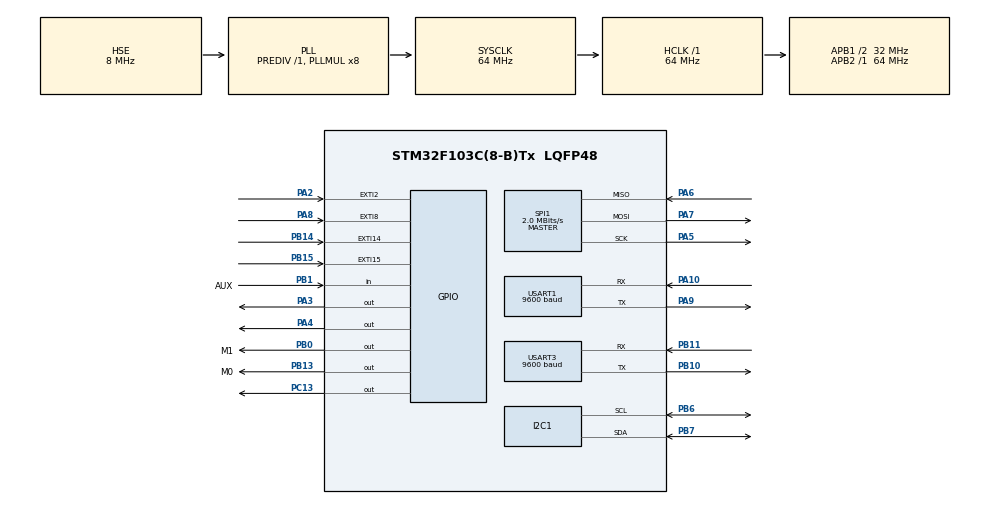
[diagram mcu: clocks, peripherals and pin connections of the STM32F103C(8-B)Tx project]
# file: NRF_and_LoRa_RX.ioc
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I2C1.I2C_Mode=I2C_Fast
Mcu.Family=STM32F1
Mcu.Name=STM32F103C(8-B)Tx
Mcu.Package=LQFP48
NVIC.EXTI15_10_IRQn=true\:0\:0\:false\:false\:true\:true\:true
NVIC.EXTI2_IRQn=true\:0\:0\:false\:false\:true\:true\:true
NVIC.EXTI9_5_IRQn=true\:0\:0\:false\:false\:true\:true\:true
NVIC.PriorityGroup=NVIC_PRIORITYGROUP_4
NVIC.TIM1_UP_IRQn=true\:0\:0\:false\:false\:true\:true\:true
NVIC.TIM2_IRQn=true\:0\:0\:false\:false\:true\:true\:true
NVIC.USART1_IRQn=true\:1\:0\:true\:false\:true\:true\:true
PA10.Mode=Asynchronous
PA10.Signal=USART1_RX
PA13.Mode=Serial_Wire
PA13.Signal=SYS_JTMS-SWDIO
PA14.Mode=Serial_Wire
PA14.Signal=SYS_JTCK-SWCLK
PA2.GPIO_ModeDefaultEXTI=GPIO_MODE_IT_FALLING
PA2.Signal=GPXTI2
PA3.GPIO_Speed=GPIO_SPEED_FREQ_HIGH
PA3.Signal=GPIO_Output
PA4.GPIO_Speed=GPIO_SPEED_FREQ_HIGH
PA4.PinState=GPIO_PIN_SET
PA4.Signal=GPIO_Output
PA5.Mode=Full_Duplex_Master
PA5.Signal=SPI1_SCK
PA6.Mode=Full_Duplex_Master
PA6.Signal=SPI1_MISO
PA7.Mode=Full_Duplex_Master
PA7.Signal=SPI1_MOSI
PA8.GPIO_ModeDefaultEXTI=GPIO_MODE_IT_FALLING
PA8.GPIO_PuPd=GPIO_PULLUP
PA8.Signal=GPXTI8
PA9.Mode=Asynchronous
PA9.Signal=USART1_TX
PB0.GPIO_Label=M1
PB0.Signal=GPIO_Output
PB1.GPIO_Label=AUX
PB1.Signal=GPIO_Input
PB10.Mode=Asynchronous
PB10.Signal=USART3_TX
PB11.Mode=Asynchronous
PB11.Signal=USART3_RX
PB13.GPIO_Label=M0
PB13.Signal=GPIO_Output
PB14.GPIO_ModeDefaultEXTI=GPIO_MODE_IT_FALLING
PB14.GPIO_PuPd=GPIO_PULLUP
PB14.Signal=GPXTI14
PB15.GPIO_ModeDefaultEXTI=GPIO_MODE_IT_FALLING
PB15.GPIO_PuPd=GPIO_PULLUP
PB15.Signal=GPXTI15
PB6.GPIO_Pu=GPIO_PULLUP
PB6.Mode=I2C
PB6.Signal=I2C1_SCL
PB7.GPIO_Pu=GPIO_PULLUP
PB7.Mode=I2C
PB7.Signal=I2C1_SDA
PC13-TAMPER-RTC.Signal=GPIO_Output
PD0-OSC_IN.Mode=HSE-External-Oscillator
PD0-OSC_IN.Signal=RCC_OSC_IN
PD1-OSC_OUT.Mode=HSE-External-Oscillator
PD1-OSC_OUT.Signal=RCC_OSC_OUT
ProjectManager.HeapSize=0x200
ProjectManager.StackSize=0x400
ProjectManager.TargetToolchain=STM32CubeIDE
RCC.AHBFreq_Value=64000000
RCC.APB1CLKDivider=RCC_HCLK_DIV2
RCC.APB1Freq_Value=32000000
RCC.APB1TimFreq_Value=64000000
RCC.APB2Freq_Value=64000000
RCC.APB2TimFreq_Value=64000000
RCC.HCLKFreq_Value=64000000
RCC.PLLMUL=RCC_PLL_MUL8
RCC.PLLSourceVirtual=RCC_PLLSOURCE_HSE
RCC.SYSCLKFreq_VALUE=64000000
RCC.SYSCLKSource=RCC_SYSCLKSOURCE_PLLCLK
RCC.USBFreq_Value=64000000
SPI1.BaudRatePrescaler=SPI_BAUDRATEPRESCALER_32
SPI1.CalculateBaudRate=2.0 MBits/s
SPI1.Direction=SPI_DIRECTION_2LINES
SPI1.Mode=SPI_MODE_MASTER
SPI1.VirtualType=VM_MASTER
TIM1.AutoReloadPreload=TIM_AUTORELOAD_PRELOAD_ENABLE
TIM1.Period=100
TIM1.Prescaler=6400
TIM1.TIM_MasterOutputTrigger=TIM_TRGO_ENABLE
TIM2.AutoReloadPreload=TIM_AUTORELOAD_PRELOAD_ENABLE
TIM2.Period=100
TIM2.Prescaler=6400
TIM2.TIM_MasterOutputTrigger=TIM_TRGO_ENABLE
USART1.BaudRate=9600
USART1.VirtualMode=VM_ASYNC
USART3.BaudRate=9600
USART3.VirtualMode=VM_ASYNC
VP_TIM1_VS_ClockSourceINT.Mode=Internal
VP_TIM2_VS_ClockSourceINT.Mode=Internal
board=custom

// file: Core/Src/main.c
/* USER CODE BEGIN Header */
/**
  ******************************************************************************
  * @file           : main.c
  * @brief          : Main program body
  ******************************************************************************
  * @attention
  *
  * <h2><center>&copy; Copyright (c) 2021 STMicroelectronics.
  * All rights reserved.</center></h2>
  *
  * This software component is licensed by ST under BSD 3-Clause license,
  * the "License"; You may not use this file except in compliance with the
  * License. You may obtain a copy of the License at:
  *                        opensource.org/licenses/BSD-3-Clause
  *
  ******************************************************************************
  */
/* USER CODE END Header */
#include "main.h"

/* USER CODE BEGIN Includes */
#include <OLED/fonts.h>
#include <OLED/oled_ssd1306.h>
#include <OLED/ssd1306.h>
#include <OLED/oled_main.h>

#include <NRF24L01/nrf24l01.h>

#include <LoRa_E220_900T22D/e220_900t22d.h>

#include <keyboard/keyboard.h>
#include <menu/menu.h>

/* USER CODE END Includes */

/* USER CODE BEGIN PD */
extern bool tx_mode;
extern bool rx_mode;
extern bool tx_or_rx_mode;

char uart_rx_data[50] = {0};			// Main rx buffer data
char str[1] = {0};						// Buffer for one char
bool flag_command_received = false;		// Flag show status receive data (completed/not completed)
uint8_t rx_data_counter = 0;
//
//char test_main[20] = {0};

#define off 0
#define on 1

void state_machine(void);
/* USER CODE END PD */

I2C_HandleTypeDef hi2c1;

SPI_HandleTypeDef hspi1;

TIM_HandleTypeDef htim1;
TIM_HandleTypeDef htim2;

UART_HandleTypeDef huart1;
UART_HandleTypeDef huart3;

void SystemClock_Config(void);
static void MX_GPIO_Init(void);
static void MX_I2C1_Init(void);
static void MX_SPI1_Init(void);
static void MX_USART1_UART_Init(void);
static void MX_TIM1_Init(void);
static void MX_USART3_UART_Init(void);
static void MX_TIM2_Init(void);

/* USER CODE BEGIN 0 */
#define STACK_CANARY_WORD (0xCACACACAUL)      // Paint for stack

extern uint32_t _ebss;
extern uint32_t _estack;

//-------------------------------------------------------------------------------
unsigned check_stack_size(void)
{
	unsigned *addr = &_ebss;				// Create pointer on start heap
	uint32_t item1, item2;

	unsigned TEST_estack = &_estack;		// Get adress

	while (addr < (&_estack - 1))
	{
	    item1 = *addr;
	    addr++;
	    item2 = *addr;

	    if (item1 == STACK_CANARY_WORD && item2 != STACK_CANARY_WORD) {
	      break;
	    }
	 }

	 return ((unsigned)&_estack - (unsigned)addr);
}
//-------------------------------------------------------------------------------

//-------------------------------------------------------------------------------

/* USER CODE END 0 */

int main(void)
{
  /* USER CODE BEGIN 1 */
	// --------------------------------------------------------------------
	volatile unsigned *top, *start;
	 __asm__ volatile ("mov %[top], sp" : [top] "=r" (top) : : );
	 start = &_ebss;
	 while (start < top)
	 {
	  	*(start++) = STACK_CANARY_WORD;
	 }
	  // --------------------------------------------------------------------
  /* USER CODE END 1 */

  /* MCU Configuration--------------------------------------------------------*/

  /* Reset of all peripherals, Initializes the Flash interface and the Systick. */
  HAL_Init();

  /* Configure the system clock */
  SystemClock_Config();

  /* Initialize all configured peripherals */
  MX_GPIO_Init();
  MX_I2C1_Init();
  MX_SPI1_Init();
  MX_USART1_UART_Init();
  MX_TIM1_Init();
  MX_USART3_UART_Init();
  MX_TIM2_Init();

  /* Infinite loop */
  /* USER CODE BEGIN WHILE */

  HAL_GPIO_WritePin(GPIOC, GPIO_PIN_13, GPIO_PIN_SET);

  // Init interrupt (For LoRa)
  HAL_NVIC_SetPriority(USART1_IRQn, 0, 0);
  HAL_NVIC_EnableIRQ(USART1_IRQn);

//  HAL_TIM_Base_Start_IT(&htim2);	// For sensor measure

  // OLED init
  ssd1306_Init();
  ssd1306_Fill(Black);
  ssd1306_UpdateScreen();

  while (1)
  {
	 int stack_size_2 = check_stack_size();				// 10220
	 menu();
    /* USER CODE END WHILE */

  }
}

void SystemClock_Config(void)
{
  RCC_OscInitTypeDef RCC_OscInitStruct = {0};
  RCC_ClkInitTypeDef RCC_ClkInitStruct = {0};

  /** Initializes the RCC Oscillators according to the specified parameters
  * in the RCC_OscInitTypeDef structure.
  */
  RCC_OscInitStruct.OscillatorType = RCC_OSCILLATORTYPE_HSE;
  RCC_OscInitStruct.HSEState = RCC_HSE_ON;
  RCC_OscInitStruct.HSEPredivValue = RCC_HSE_PREDIV_DIV1;
  RCC_OscInitStruct.HSIState = RCC_HSI_ON;
  RCC_OscInitStruct.PLL.PLLState = RCC_PLL_ON;
  RCC_OscInitStruct.PLL.PLLSource = RCC_PLLSOURCE_HSE;
  RCC_OscInitStruct.PLL.PLLMUL = RCC_PLL_MUL8;
  if (HAL_RCC_OscConfig(&RCC_OscInitStruct) != HAL_OK)
  {
    Error_Handler();
  }
  /** Initializes the CPU, AHB and APB buses clocks
  */
  RCC_ClkInitStruct.ClockType = RCC_CLOCKTYPE_HCLK|RCC_CLOCKTYPE_SYSCLK
                              |RCC_CLOCKTYPE_PCLK1|RCC_CLOCKTYPE_PCLK2;
  RCC_ClkInitStruct.SYSCLKSource = RCC_SYSCLKSOURCE_PLLCLK;
  RCC_ClkInitStruct.AHBCLKDivider = RCC_SYSCLK_DIV1;
  RCC_ClkInitStruct.APB1CLKDivider = RCC_HCLK_DIV2;
  RCC_ClkInitStruct.APB2CLKDivider = RCC_HCLK_DIV1;

  if (HAL_RCC_ClockConfig(&RCC_ClkInitStruct, FLASH_LATENCY_2) != HAL_OK)
  {
    Error_Handler();
  }
}

static void MX_I2C1_Init(void)
{

  hi2c1.Instance = I2C1;
  hi2c1.Init.ClockSpeed = 400000;
  hi2c1.Init.DutyCycle = I2C_DUTYCYCLE_2;
  hi2c1.Init.OwnAddress1 = 0;
  hi2c1.Init.AddressingMode = I2C_ADDRESSINGMODE_7BIT;
  hi2c1.Init.DualAddressMode = I2C_DUALADDRESS_DISABLE;
  hi2c1.Init.OwnAddress2 = 0;
  hi2c1.Init.GeneralCallMode = I2C_GENERALCALL_DISABLE;
  hi2c1.Init.NoStretchMode = I2C_NOSTRETCH_DISABLE;
  if (HAL_I2C_Init(&hi2c1) != HAL_OK)
  {
    Error_Handler();
  }

}

static void MX_SPI1_Init(void)
{

  /* SPI1 parameter configuration*/
  hspi1.Instance = SPI1;
  hspi1.Init.Mode = SPI_MODE_MASTER;
  hspi1.Init.Direction = SPI_DIRECTION_2LINES;
  hspi1.Init.DataSize = SPI_DATASIZE_8BIT;
  hspi1.Init.CLKPolarity = SPI_POLARITY_LOW;
  hspi1.Init.CLKPhase = SPI_PHASE_1EDGE;
  hspi1.Init.NSS = SPI_NSS_SOFT;
  hspi1.Init.BaudRatePrescaler = SPI_BAUDRATEPRESCALER_32;
  hspi1.Init.FirstBit = SPI_FIRSTBIT_MSB;
  hspi1.Init.TIMode = SPI_TIMODE_DISABLE;
  hspi1.Init.CRCCalculation = SPI_CRCCALCULATION_DISABLE;
  hspi1.Init.CRCPolynomial = 10;
  if (HAL_SPI_Init(&hspi1) != HAL_OK)
  {
    Error_Handler();
  }

}

static void MX_TIM1_Init(void)
{

  TIM_ClockConfigTypeDef sClockSourceConfig = {0};
  TIM_MasterConfigTypeDef sMasterConfig = {0};

  htim1.Instance = TIM1;
  htim1.Init.Prescaler = 6400;
  htim1.Init.CounterMode = TIM_COUNTERMODE_UP;
  htim1.Init.Period = 100;
  htim1.Init.ClockDivision = TIM_CLOCKDIVISION_DIV1;
  htim1.Init.RepetitionCounter = 0;
  htim1.Init.AutoReloadPreload = TIM_AUTORELOAD_PRELOAD_ENABLE;
  if (HAL_TIM_Base_Init(&htim1) != HAL_OK)
  {
    Error_Handler();
  }
  sClockSourceConfig.ClockSource = TIM_CLOCKSOURCE_INTERNAL;
  if (HAL_TIM_ConfigClockSource(&htim1, &sClockSourceConfig) != HAL_OK)
  {
    Error_Handler();
  }
  sMasterConfig.MasterOutputTrigger = TIM_TRGO_ENABLE;
  sMasterConfig.MasterSlaveMode = TIM_MASTERSLAVEMODE_DISABLE;
  if (HAL_TIMEx_MasterConfigSynchronization(&htim1, &sMasterConfig) != HAL_OK)
  {
    Error_Handler();
  }

}

static void MX_TIM2_Init(void)
{

  TIM_ClockConfigTypeDef sClockSourceConfig = {0};
  TIM_MasterConfigTypeDef sMasterConfig = {0};

  htim2.Instance = TIM2;
  htim2.Init.Prescaler = 6400;
  htim2.Init.CounterMode = TIM_COUNTERMODE_UP;
  htim2.Init.Period = 100;
  htim2.Init.ClockDivision = TIM_CLOCKDIVISION_DIV1;
  htim2.Init.AutoReloadPreload = TIM_AUTORELOAD_PRELOAD_ENABLE;
  if (HAL_TIM_Base_Init(&htim2) != HAL_OK)
  {
    Error_Handler();
  }
  sClockSourceConfig.ClockSource = TIM_CLOCKSOURCE_INTERNAL;
  if (HAL_TIM_ConfigClockSource(&htim2, &sClockSourceConfig) != HAL_OK)
  {
    Error_Handler();
  }
  sMasterConfig.MasterOutputTrigger = TIM_TRGO_ENABLE;
  sMasterConfig.MasterSlaveMode = TIM_MASTERSLAVEMODE_DISABLE;
  if (HAL_TIMEx_MasterConfigSynchronization(&htim2, &sMasterConfig) != HAL_OK)
  {
    Error_Handler();
  }

}

static void MX_USART1_UART_Init(void)
{

  huart1.Instance = USART1;
  huart1.Init.BaudRate = 9600;
  huart1.Init.WordLength = UART_WORDLENGTH_8B;
  huart1.Init.StopBits = UART_STOPBITS_1;
  huart1.Init.Parity = UART_PARITY_NONE;
  huart1.Init.Mode = UART_MODE_TX_RX;
  huart1.Init.HwFlowCtl = UART_HWCONTROL_NONE;
  huart1.Init.OverSampling = UART_OVERSAMPLING_16;
  if (HAL_UART_Init(&huart1) != HAL_OK)
  {
    Error_Handler();
  }

}

static void MX_USART3_UART_Init(void)
{

  huart3.Instance = USART3;
  huart3.Init.BaudRate = 9600;
  huart3.Init.WordLength = UART_WORDLENGTH_8B;
  huart3.Init.StopBits = UART_STOPBITS_1;
  huart3.Init.Parity = UART_PARITY_NONE;
  huart3.Init.Mode = UART_MODE_TX_RX;
  huart3.Init.HwFlowCtl = UART_HWCONTROL_NONE;
  huart3.Init.OverSampling = UART_OVERSAMPLING_16;
  if (HAL_UART_Init(&huart3) != HAL_OK)
  {
    Error_Handler();
  }

}

static void MX_GPIO_Init(void)
{
  GPIO_InitTypeDef GPIO_InitStruct = {0};

  /* GPIO Ports Clock Enable */
  __HAL_RCC_GPIOC_CLK_ENABLE();
  __HAL_RCC_GPIOD_CLK_ENABLE();
  __HAL_RCC_GPIOA_CLK_ENABLE();
  __HAL_RCC_GPIOB_CLK_ENABLE();

  /*Configure GPIO pin Output Level */
  HAL_GPIO_WritePin(GPIOC, GPIO_PIN_13, GPIO_PIN_RESET);

  /*Configure GPIO pin Output Level */
  HAL_GPIO_WritePin(GPIOA, GPIO_PIN_3, GPIO_PIN_RESET);

  /*Configure GPIO pin Output Level */
  HAL_GPIO_WritePin(GPIOA, GPIO_PIN_4, GPIO_PIN_SET);

  /*Configure GPIO pin Output Level */
  HAL_GPIO_WritePin(GPIOB, M1_Pin|M0_Pin, GPIO_PIN_RESET);

  /*Configure GPIO pin : PC13 */
  GPIO_InitStruct.Pin = GPIO_PIN_13;
  GPIO_InitStruct.Mode = GPIO_MODE_OUTPUT_PP;
  GPIO_InitStruct.Pull = GPIO_NOPULL;
  GPIO_InitStruct.Speed = GPIO_SPEED_FREQ_LOW;
  HAL_GPIO_Init(GPIOC, &GPIO_InitStruct);

  /*Configure GPIO pin : PA2 */
  GPIO_InitStruct.Pin = GPIO_PIN_2;
  GPIO_InitStruct.Mode = GPIO_MODE_IT_FALLING;
  GPIO_InitStruct.Pull = GPIO_NOPULL;
  HAL_GPIO_Init(GPIOA, &GPIO_InitStruct);

  /*Configure GPIO pins : PA3 PA4 */
  GPIO_InitStruct.Pin = GPIO_PIN_3|GPIO_PIN_4;
  GPIO_InitStruct.Mode = GPIO_MODE_OUTPUT_PP;
  GPIO_InitStruct.Pull = GPIO_NOPULL;
  GPIO_InitStruct.Speed = GPIO_SPEED_FREQ_HIGH;
  HAL_GPIO_Init(GPIOA, &GPIO_InitStruct);

  /*Configure GPIO pins : M1_Pin M0_Pin */
  GPIO_InitStruct.Pin = M1_Pin|M0_Pin;
  GPIO_InitStruct.Mode = GPIO_MODE_OUTPUT_PP;
  GPIO_InitStruct.Pull = GPIO_NOPULL;
  GPIO_InitStruct.Speed = GPIO_SPEED_FREQ_LOW;
  HAL_GPIO_Init(GPIOB, &GPIO_InitStruct);

  /*Configure GPIO pin : AUX_Pin */
  GPIO_InitStruct.Pin = AUX_Pin;
  GPIO_InitStruct.Mode = GPIO_MODE_INPUT;
  GPIO_InitStruct.Pull = GPIO_NOPULL;
  HAL_GPIO_Init(AUX_GPIO_Port, &GPIO_InitStruct);

  /*Configure GPIO pins : PB14 PB15 */
  GPIO_InitStruct.Pin = GPIO_PIN_14|GPIO_PIN_15;
  GPIO_InitStruct.Mode = GPIO_MODE_IT_FALLING;
  GPIO_InitStruct.Pull = GPIO_PULLUP;
  HAL_GPIO_Init(GPIOB, &GPIO_InitStruct);

  /*Configure GPIO pin : PA8 */
  GPIO_InitStruct.Pin = GPIO_PIN_8;
  GPIO_InitStruct.Mode = GPIO_MODE_IT_FALLING;
  GPIO_InitStruct.Pull = GPIO_PULLUP;
  HAL_GPIO_Init(GPIOA, &GPIO_InitStruct);

  /* EXTI interrupt init*/
  HAL_NVIC_SetPriority(EXTI2_IRQn, 0, 0);
  HAL_NVIC_EnableIRQ(EXTI2_IRQn);

  HAL_NVIC_SetPriority(EXTI9_5_IRQn, 0, 0);
  HAL_NVIC_EnableIRQ(EXTI9_5_IRQn);

  HAL_NVIC_SetPriority(EXTI15_10_IRQn, 0, 0);
  HAL_NVIC_EnableIRQ(EXTI15_10_IRQn);

}

/* USER CODE BEGIN 4 */

// ------------------------------------------------------------------------------------------
void gpio_test(void)
{
	// 1. Configure PC14 like output
	GPIO_InitTypeDef GPIO_InitStruct = {0};		// Make
	GPIO_InitStruct.Pin = GPIO_PIN_14;
	GPIO_InitStruct.Mode = GPIO_MODE_OUTPUT_PP;
	GPIO_InitStruct.Speed = GPIO_SPEED_LOW;
	HAL_GPIO_Init(GPIOC, &GPIO_InitStruct);

	// 2. Set Logic 0
	HAL_GPIO_WritePin(GPIOC, GPIO_PIN_14, GPIO_PIN_RESET);
	HAL_Delay(1000);

	// 4. Set Logic 1
	HAL_GPIO_WritePin(GPIOC, GPIO_PIN_14, GPIO_PIN_SET);
	HAL_Delay(1000);
	HAL_GPIO_WritePin(GPIOC, GPIO_PIN_14, GPIO_PIN_RESET);

	// 5. Configure PC14 like input
	HAL_GPIO_DeInit(GPIOC, GPIO_PIN_14);
	GPIO_InitStruct.Pin = GPIO_PIN_14;
	GPIO_InitStruct.Mode = GPIO_MODE_INPUT;
	GPIO_InitStruct.Pull = GPIO_PULLDOWN;
	HAL_GPIO_Init(GPIOC, &GPIO_InitStruct);

	int f = 99;

	if(GPIOC -> IDR & GPIO_PIN_14)
	{
		int h = 99;		// For debug
	}
	else
	{
		int j = 88;		// For debug
	}

	HAL_GPIO_DeInit(GPIOC, GPIO_PIN_14);

}
//----------------------------------------------------------------------------------------
void HAL_GPIO_EXTI_Callback(uint16_t GPIO_Pin)
{
  if(GPIO_Pin== GPIO_PIN_2)			// If detect External interrupt from PA2   (IRQ from NRF module)
  {
	  if(tx_or_rx_mode == rx_mode)
	  {
		  IRQ_Callback();					// Call Callback
	  }
  }
  else
  {
    __NOP();
  }
}
//----------------------------------------------------------------------------------------
// Receive data from LoRa module
// If data received (Received 1 bytes)        Define in: HAL_UART_Receive_IT(&huart1, str, 1);
void HAL_UART_RxCpltCallback(UART_HandleTypeDef *huart)
{
	if(huart == &huart1)											// Which uart generate Callback function
	{
		if((str[0] == '\n') || (rx_data_counter >= sizeof(uart_rx_data)))   		// Detect '\0' Null or  data too long
		{
			flag_command_received = true;                           // Data is ready
			rx_data_counter = 0;
		}
		else
		{
			flag_command_received = false;							// Receive data
			uart_rx_data[rx_data_counter] = str[0];					// Save data in global buffer
			HAL_UART_Receive_IT(&huart1, str, 1);					// Turn on "HAL_UART_Receive_IT"
			rx_data_counter ++;
		}
	}
}
//----------------------------------------------------------------------------------------

/* USER CODE END 4 */

void Error_Handler(void)
{
  __disable_irq();
  while (1)
  {
  }
}

/************************ (C) COPYRIGHT STMicroelectronics *****END OF FILE****/
